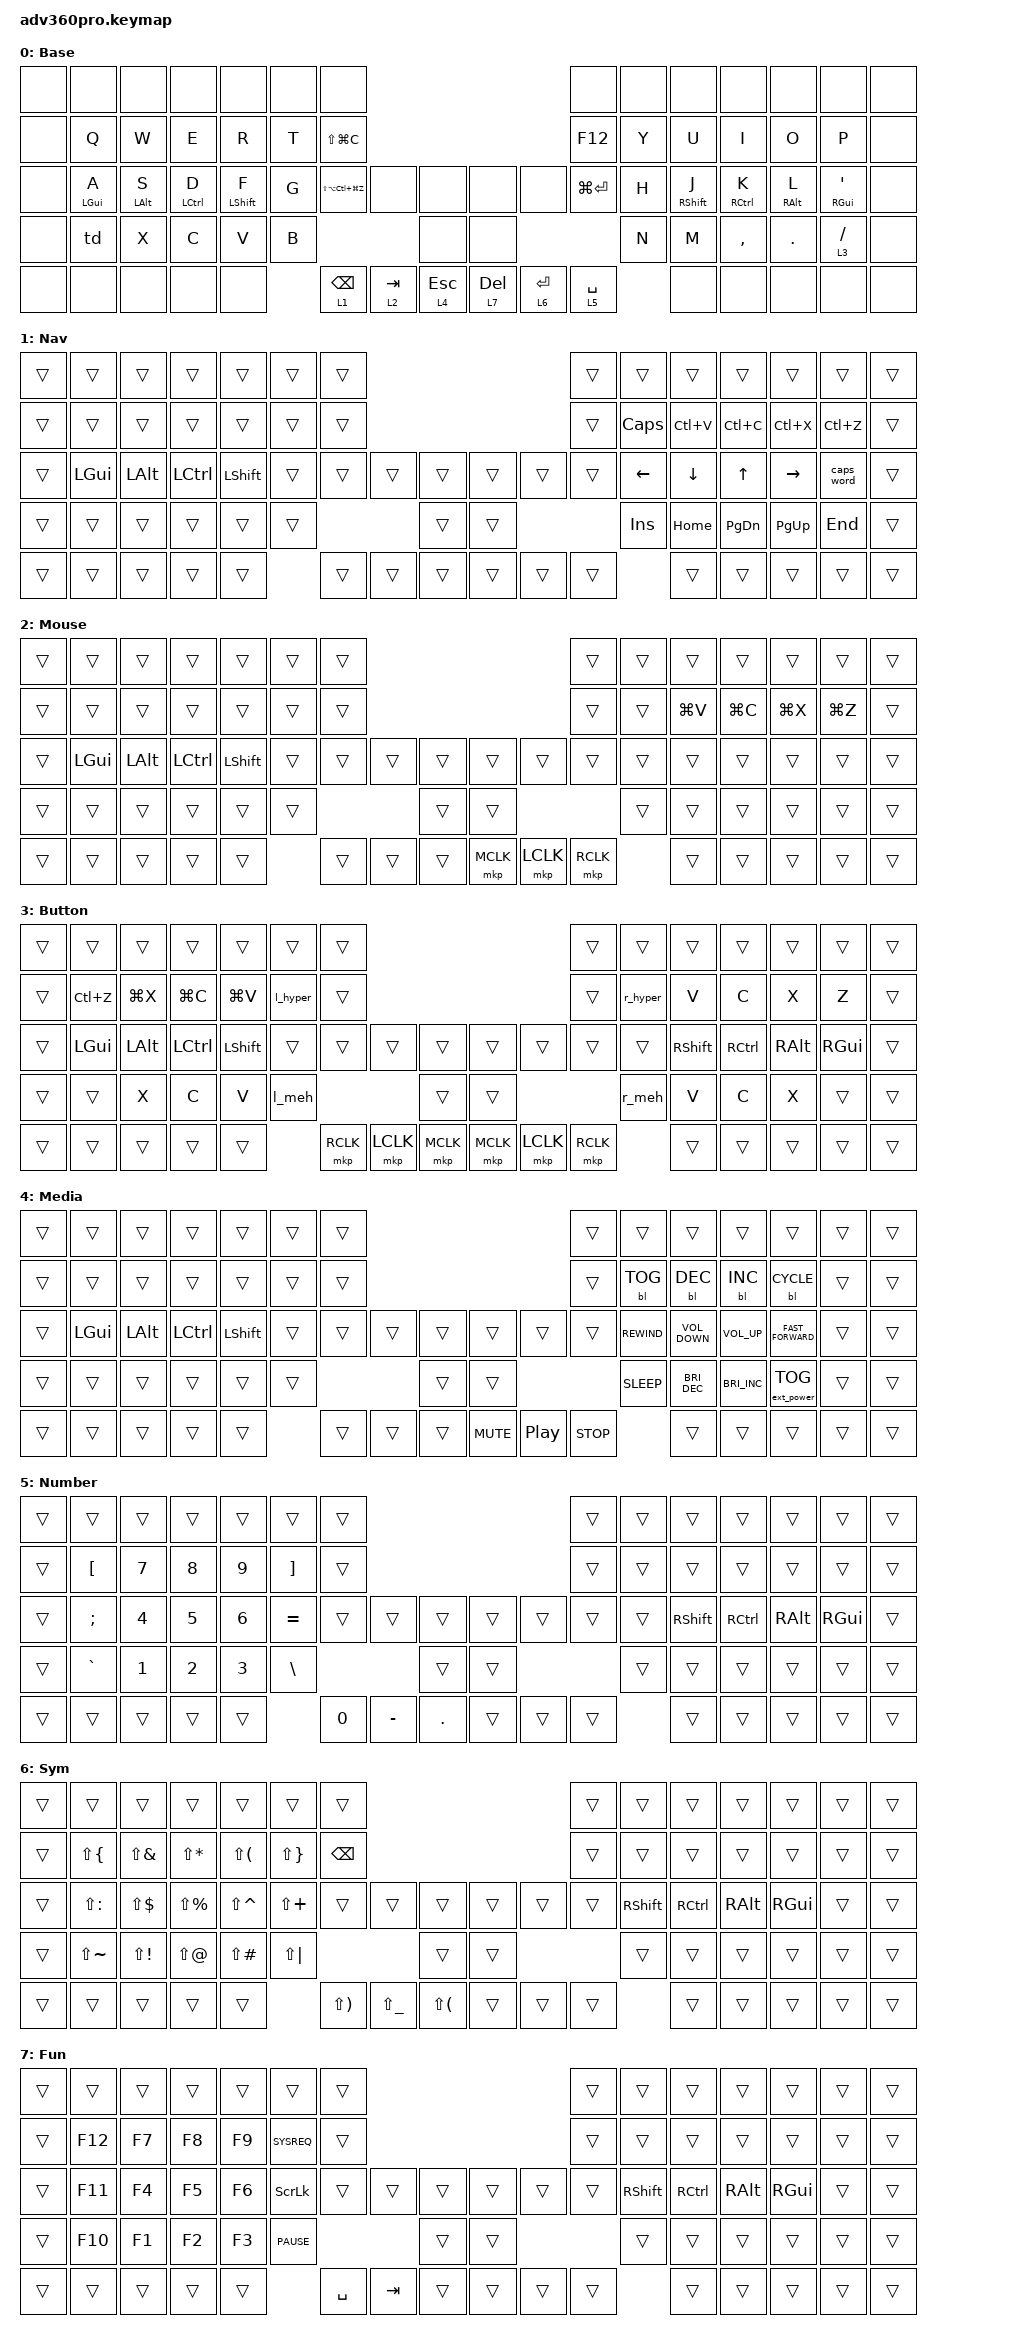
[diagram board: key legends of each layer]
/*
 * Copyright (c) 2020 The ZMK Contributors
 *
 * SPDX-License-Identifier: MIT
 */
/* THIS FILE WAS GENERATED!
 *
 * This file was generated automatically. You may or may not want to
 * edit it directly.
 */

#include <behaviors.dtsi>
#include <dt-bindings/zmk/backlight.h>
#include <dt-bindings/zmk/ext_power.h>
#include <dt-bindings/zmk/keys.h>
#include <dt-bindings/zmk/mouse.h>

/ {
    behaviors {
        #include "macros.dtsi"
        #include "version.dtsi"

        hml: timeless_hrm_left {
            compatible = "zmk,behavior-hold-tap";
            label = "TIMELESS_LEFT";
            flavor = "balanced";
            #binding-cells = <2>;
            tapping-term-ms = <280>;
            quick-tap-ms = <150>;
            global-quick-tap;
            bindings = <&kp>, <&kp>;
            hold-trigger-on-release;
        };

        hmls: timeless_hrm_left_shift {
            compatible = "zmk,behavior-hold-tap";
            label = "TIMELESS_LEFT_SHIFT";
            flavor = "balanced";
            #binding-cells = <2>;
            tapping-term-ms = <280>;
            quick-tap-ms = <50>;
            global-quick-tap;
            bindings = <&kp>, <&kp>;
            hold-trigger-on-release;
        };
        
        tlh: timeless_layer_hold {
            compatible = "zmk,behavior-hold-tap";
            label = "TIMELESS_LAYER_HOLD";
            flavor = "balanced";
            #binding-cells = <2>;
            tapping-term-ms = <280>;
            quick-tap-ms = <100>;
            global-quick-tap;
            bindings = <&mo>, <&kp>;
            hold-trigger-on-release;
        };

        hm: homerow_mods {
            compatible = "zmk,behavior-hold-tap";
            label = "HOMEROW_MODS";
            #binding-cells = <2>;
            tapping-term-ms = <195>;
            flavor = "tap-preferred";
            bindings = <&kp>, <&kp>;
            quick-tap-ms = <175>;
            require-prior-idle-ms = <125>;
        };

        td: tap_dance {
            compatible = "zmk,behavior-tap-dance";
            label = "TAP_DANCE";
            #binding-cells = <0>;
            bindings = <&kp Z>, <&kp ESCAPE>;
        };

        hp: hold_preferred {
            compatible = "zmk,behavior-hold-tap";
            label = "HOLD_PREFERRED";
            #binding-cells = <2>;
            tapping-term-ms = <220>;
            flavor = "hold-preferred";
            bindings = <&kp>, <&kp>;
            quick-tap-ms = <175>;
            require-prior-idle-ms = <125>;
        };

        lh: layer_hold {
            compatible = "zmk,behavior-hold-tap";
            label = "layer_hold";
            bindings = <&mo>, <&kp>;
            flavor = "tap-preferred";
            #binding-cells = <2>;
            quick-tap-ms = <175>;
            tapping-term-ms = <185>;
        };
    };

    combos { compatible = "zmk,combos"; };

    macros {
        l_hyper: l_hyper {
            compatible = "zmk,behavior-macro";
            #binding-cells = <0>;
            bindings = <&kp LC(LA(LS(LEFT_GUI)))>;
            label = "L_HYPER";
        };

        r_hyper: r_hyper {
            compatible = "zmk,behavior-macro";
            #binding-cells = <0>;
            bindings = <&kp RC(RA(RS(RGUI)))>;
            label = "R_HYPER";
        };

        l_meh: l_meh {
            compatible = "zmk,behavior-macro";
            #binding-cells = <0>;
            bindings = <&kp LA(LS(LCTRL))>;
            label = "L_MEH";
        };

        r_meh: r_meh {
            compatible = "zmk,behavior-macro";
            #binding-cells = <0>;
            bindings = <&kp RA(RS(RCTRL))>;
            label = "R_MEH";
        };
    };

    keymap {
        compatible = "zmk,keymap";

        Base {
            bindings = <
&none  &none        &none        &none         &none          &none  &none                                                                       &none          &none  &none          &none         &none        &none          &none
&none  &kp Q        &kp W        &kp E         &kp R          &kp T  &kp LS(LG(C))                                                               &kp F12        &kp Y  &kp U          &kp I         &kp O        &kp P          &none
&none  &hml LGUI A  &hml LALT S  &hml LCTRL D  &hmls LSHIFT F  &kp G  &kp LS(LA(LC(LG(Z))))  &none      &none             &none      &none        &kp LG(ENTER)  &kp H  &hmls RSHIFT J  &hml RCTRL K  &hml RALT L  &hml RGUI SQT  &none
&none  &td          &kp X        &kp C         &kp V          &kp B                                    &none             &none                                  &kp N  &kp M          &kp COMMA     &kp DOT      &lh 3 SLASH    &none
&none  &none        &none        &none         &none                 &tlh 1 BACKSPACE        &tlh 2 TAB  &tlh 4 ESCAPE      &tlh 7 DEL  &tlh 6 ENTER  &tlh 5 SPACE           &none          &none         &none        &none          &none
            >;

            label = "Base";
        };

        Nav {
            bindings = <
&trans  &trans    &trans    &trans     &trans      &trans  &trans                                      &trans  &trans      &trans     &trans         &trans     &trans      &trans
&trans  &trans    &trans    &trans     &trans      &trans  &trans                                      &trans  &kp CAPS    &kp LC(V)  &kp LC(C)      &kp LC(X)  &kp LC(Z)   &trans
&trans  &kp LGUI  &kp LALT  &kp LCTRL  &kp LSHIFT  &trans  &trans  &trans  &trans      &trans  &trans  &trans  &kp LEFT    &kp DOWN   &kp UP         &kp RIGHT  &caps_word  &trans
&trans  &trans    &trans    &trans     &trans      &trans                  &trans      &trans                  &kp INSERT  &kp HOME   &kp PAGE_DOWN  &kp PG_UP  &kp END     &trans
&trans  &trans    &trans    &trans     &trans              &trans  &trans  &trans      &trans  &trans  &trans              &trans     &trans         &trans     &trans      &trans
            >;
        };

        Mouse {
            bindings = <
&trans  &trans    &trans    &trans     &trans     &trans  &trans                                            &trans     &trans  &trans          &trans        &trans           &trans     &trans
&trans  &trans    &trans    &trans     &trans     &trans  &trans                                            &trans     &trans  &kp LG(V)       &kp LG(C)     &kp LG(X)        &kp LG(Z)  &trans
&trans  &kp LGUI  &kp LALT  &kp LCTRL  &kp LSHFT  &trans  &trans  &trans  &trans      &trans     &trans     &trans     &trans  &trans          &trans        &trans           &trans     &trans
&trans  &trans    &trans    &trans     &trans     &trans                  &trans      &trans                           &trans  &trans          &trans        &trans           &trans     &trans
&trans  &trans    &trans    &trans     &trans             &trans  &trans  &trans      &mkp MCLK  &mkp LCLK  &mkp RCLK                    &trans          &trans        &trans           &trans     &trans
            >;
        };

        Button {
            bindings = <
&trans  &trans     &trans     &trans     &trans     &trans    &trans                                                     &trans     &trans    &trans     &trans     &trans    &trans    &trans
&trans  &kp LC(Z)  &kp LG(X)  &kp LG(C)  &kp LG(V)  &l_hyper  &trans                                                     &trans     &r_hyper  &kp V      &kp C      &kp X     &kp Z     &trans
&trans  &kp LGUI   &kp LALT   &kp LCTRL  &kp LSHFT  &trans    &trans     &trans     &trans         &trans     &trans     &trans     &trans    &kp RSHFT  &kp RCTRL  &kp RALT  &kp RGUI  &trans
&trans  &trans     &kp X      &kp C      &kp V      &l_meh                          &trans         &trans                           &r_meh    &kp V      &kp C      &kp X     &trans    &trans
&trans  &trans     &trans     &trans     &trans               &mkp RCLK  &mkp LCLK  &mkp MCLK      &mkp MCLK  &mkp LCLK  &mkp RCLK            &trans     &trans     &trans    &trans    &trans
            >;
        };

        Media {
            bindings = <
&trans  &trans    &trans    &trans     &trans     &trans  &trans                                                    &trans      &trans        &trans             &trans           &trans              &trans  &trans
&trans  &trans    &trans    &trans     &trans     &trans  &trans                                                    &trans      &bl BL_TOG    &bl BL_DEC         &bl BL_INC       &bl BL_CYCLE        &trans  &trans
&trans  &kp LGUI  &kp LALT  &kp LCTRL  &kp LSHFT  &trans  &trans  &trans  &trans      &trans      &trans            &trans      &kp C_REWIND  &kp C_VOLUME_DOWN  &kp C_VOLUME_UP  &kp C_FAST_FORWARD  &trans  &trans
&trans  &trans    &trans    &trans     &trans     &trans                  &trans      &trans                                    &kp C_SLEEP   &kp C_BRI_DEC      &kp C_BRI_INC    &ext_power EP_TOG   &trans  &trans
&trans  &trans    &trans    &trans     &trans             &trans  &trans  &trans      &kp C_MUTE  &kp C_PLAY_PAUSE  &kp C_STOP                &trans             &trans           &trans              &trans  &trans
            >;
        };

        Number {
            bindings = <
&trans  &trans     &trans  &trans  &trans  &trans     &trans                                          &trans  &trans  &trans     &trans     &trans    &trans    &trans
&trans  &kp LBKT   &kp N7  &kp N8  &kp N9  &kp RBKT   &trans                                          &trans  &trans  &trans     &trans     &trans    &trans    &trans
&trans  &kp SEMI   &kp N4  &kp N5  &kp N6  &kp EQUAL  &trans  &trans     &trans       &trans  &trans  &trans  &trans  &kp RSHFT  &kp RCTRL  &kp RALT  &kp RGUI  &trans
&trans  &kp GRAVE  &kp N1  &kp N2  &kp N3  &kp BSLH                      &trans       &trans                  &trans  &trans     &trans     &trans    &trans    &trans
&trans  &trans     &trans  &trans  &trans             &kp N0  &kp MINUS  &kp DOT      &trans  &trans  &trans          &trans     &trans     &trans    &trans    &trans
            >;
        };

        Sym {
            bindings = <
&trans  &trans         &trans        &trans         &trans         &trans        &trans                                                         &trans  &trans     &trans     &trans    &trans    &trans  &trans
&trans  &kp LS(LBRC)   &kp LS(AMPS)  &kp LS(STAR)   &kp LS(LPAR)   &kp LS(RBRC)  &kp BSPC                                                       &trans  &trans     &trans     &trans    &trans    &trans  &trans
&trans  &kp LS(COLON)  &kp LS(DLLR)  &kp LS(PRCNT)  &kp LS(CARET)  &kp LS(PLUS)  &trans        &trans         &trans            &trans  &trans  &trans  &kp RSHFT  &kp RCTRL  &kp RALT  &kp RGUI  &trans  &trans
&trans  &kp LS(TILDE)  &kp LS(EXCL)  &kp LS(AT)     &kp LS(POUND)  &kp LS(PIPE)                               &trans            &trans                  &trans     &trans     &trans    &trans    &trans  &trans
&trans  &trans         &trans        &trans         &trans                       &kp LS(RPAR)  &kp LS(UNDER)  &kp LS(LPAR)      &trans  &trans  &trans             &trans     &trans    &trans    &trans  &trans
            >;
        };

        Fun {
            bindings = <
&trans  &trans   &trans  &trans  &trans  &trans          &trans                                          &trans  &trans     &trans     &trans    &trans    &trans  &trans
&trans  &kp F12  &kp F7  &kp F8  &kp F9  &kp SYSREQ      &trans                                          &trans  &trans     &trans     &trans    &trans    &trans  &trans
&trans  &kp F11  &kp F4  &kp F5  &kp F6  &kp SCROLLLOCK  &trans     &trans   &trans      &trans  &trans  &trans  &kp RSHFT  &kp RCTRL  &kp RALT  &kp RGUI  &trans  &trans
&trans  &kp F10  &kp F1  &kp F2  &kp F3  &kp C_PAUSE                         &trans      &trans                  &trans     &trans     &trans    &trans    &trans  &trans
&trans  &trans   &trans  &trans  &trans                  &kp SPACE  &kp TAB  &trans      &trans  &trans  &trans             &trans     &trans    &trans    &trans  &trans
            >;
        };
    };
};
